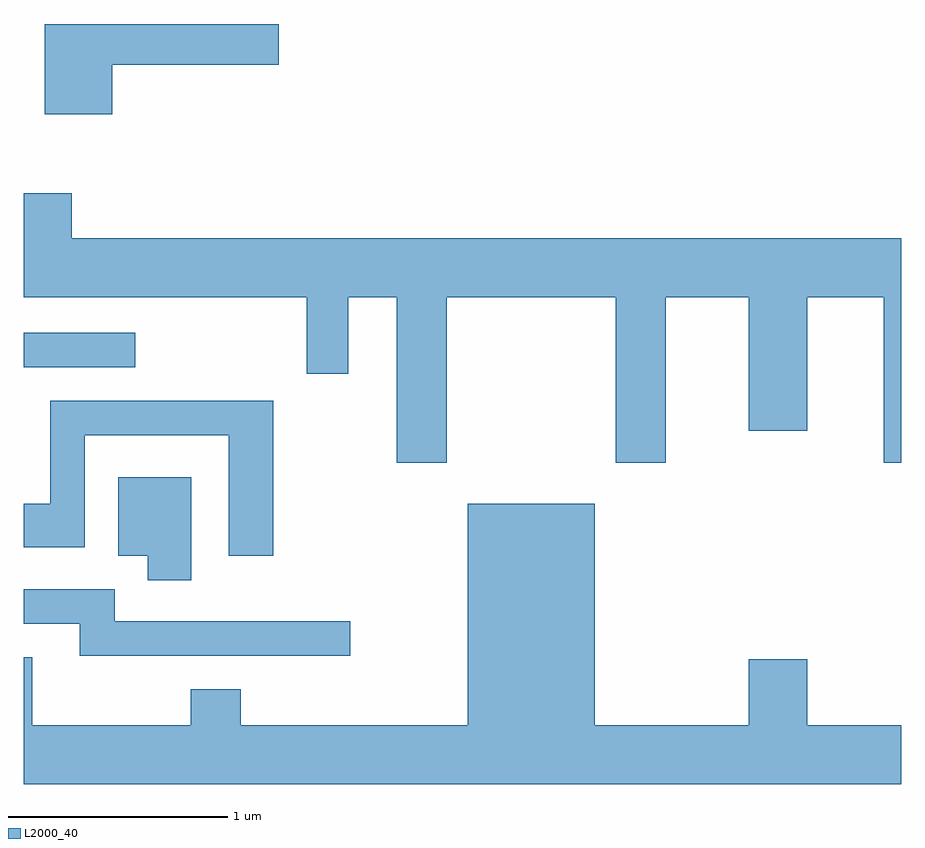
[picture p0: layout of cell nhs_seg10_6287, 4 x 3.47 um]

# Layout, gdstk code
import gdstk
lib = gdstk.Library(unit=1e-6, precision=1e-09)
def R(c, l, rs):  # rectangles x0, y0, x1, y1
    for r in rs: c.add(gdstk.rectangle(r[:2], r[2:], *l))
def P(c, l, *ps):  # polygons
    for p in ps: c.add(gdstk.Polygon(p, *l))
L2000_40 = (2000, 40)

nhs_seg10_6287 = lib.new_cell('nhs_seg10_6287')
R(nhs_seg10_6287, L2000_40, [(371.611,2086.956,372.118,2087.114)])
P(nhs_seg10_6287, L2000_40, [(372.014,2088.336),(372.774,2088.336),(372.774,2088.522),(371.706,2088.522),(371.706,2088.111),(372.014,2088.111)],
  [(373.539,2087.276),(374.311,2087.276),(374.311,2086.521),(374.539,2086.521),(374.539,2087.276),(374.916,2087.276),(374.916,2086.666),(375.184,2086.666),(375.184,2087.276),(375.531,2087.276),(375.531,2086.521),(375.611,2086.521),(375.611,2087.544),(371.829,2087.544),(371.829,2087.749),(371.611,2087.749),(371.611,2087.276),(372.901,2087.276),(372.901,2086.926),(373.089,2086.926),(373.089,2087.276),(373.311,2087.276),(373.311,2086.521),(373.539,2086.521)],
  [(372.749,2086.804),(371.731,2086.804),(371.731,2086.334),(371.611,2086.334),(371.611,2086.136),(371.889,2086.136),(371.889,2086.646),(372.546,2086.646),(372.546,2086.096),(372.749,2086.096)],
  [(372.374,2086.454),(372.041,2086.454),(372.041,2086.096),(372.176,2086.096),(372.176,2085.986),(372.374,2085.986)],
  [(375.611,2085.324),(375.184,2085.324),(375.184,2085.624),(374.916,2085.624),(374.916,2085.324),(374.214,2085.324),(374.214,2086.334),(373.636,2086.334),(373.636,2085.324),(372.599,2085.324),(372.599,2085.489),(372.371,2085.489),(372.371,2085.324),(371.649,2085.324),(371.649,2085.634),(371.611,2085.634),(371.611,2085.056),(375.611,2085.056)],
  [(373.098,2085.799),(372.024,2085.799),(372.024,2085.944),(371.611,2085.944),(371.611,2085.786),(371.866,2085.786),(371.866,2085.641),(373.098,2085.641)])

lib.write_gds('nhs_seg10_6287.gds')
